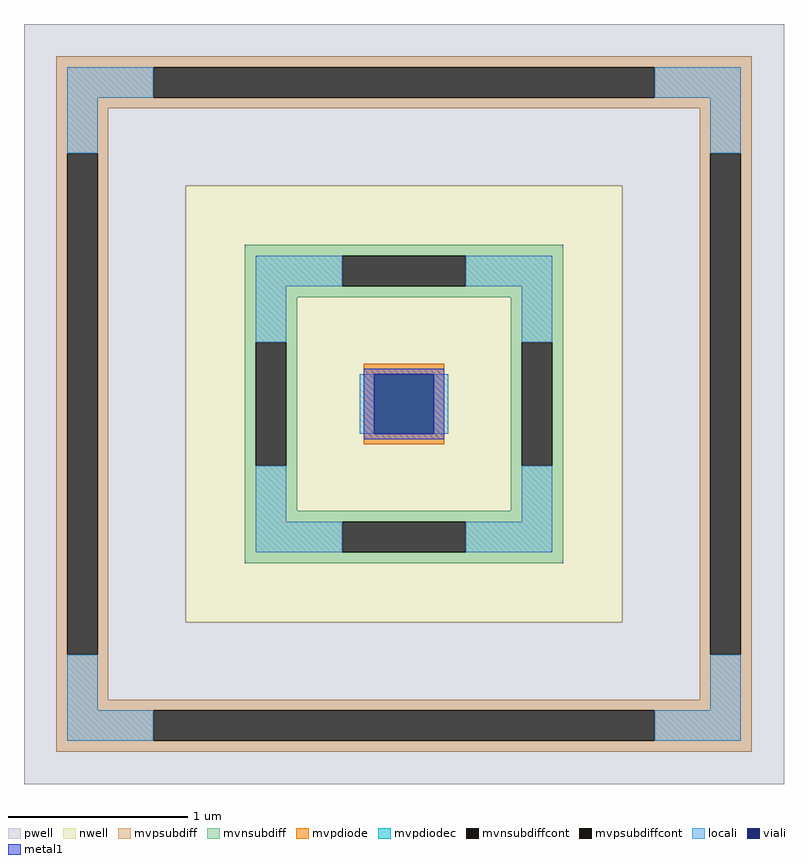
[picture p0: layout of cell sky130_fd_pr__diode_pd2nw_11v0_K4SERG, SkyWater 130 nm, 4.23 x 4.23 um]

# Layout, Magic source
magic
tech sky130A
magscale 1 2
<< nwell >>
rect -243 -243 243 243
<< pwell >>
rect -423 243 423 423
rect -423 -243 -243 243
rect 243 -243 423 243
rect -423 -423 423 -243
<< mvpsubdiff >>
rect -387 375 387 387
rect -387 341 -279 375
rect 279 341 387 375
rect -387 329 387 341
rect -387 279 -329 329
rect -387 -279 -375 279
rect -341 -279 -329 279
rect 329 279 387 329
rect -387 -329 -329 -279
rect 329 -279 341 279
rect 375 -279 387 279
rect 329 -329 387 -279
rect -387 -341 387 -329
rect -387 -375 -279 -341
rect 279 -375 387 -341
rect -387 -387 387 -375
<< mvnsubdiff >>
rect -177 165 177 177
rect -177 131 -69 165
rect 69 131 177 165
rect -177 119 177 131
rect -177 69 -119 119
rect -177 -69 -165 69
rect -131 -69 -119 69
rect 119 69 177 119
rect -177 -119 -119 -69
rect 119 -69 131 69
rect 165 -69 177 69
rect 119 -119 177 -69
rect -177 -131 177 -119
rect -177 -165 -69 -131
rect 69 -165 177 -131
rect -177 -177 177 -165
<< mvpsubdiffcont >>
rect -279 341 279 375
rect -375 -279 -341 279
rect 341 -279 375 279
rect -279 -375 279 -341
<< mvnsubdiffcont >>
rect -69 131 69 165
rect -165 -69 -131 69
rect 131 -69 165 69
rect -69 -165 69 -131
<< mvpdiode >>
rect -45 33 45 45
rect -45 -33 -33 33
rect 33 -33 45 33
rect -45 -45 45 -33
<< mvpdiodec >>
rect -33 -33 33 33
<< locali >>
rect -375 341 -279 375
rect 279 341 375 375
rect -375 279 -341 341
rect 341 279 375 341
rect -165 131 -69 165
rect 69 131 165 165
rect -165 69 -131 131
rect 131 69 165 131
rect -49 -33 -33 33
rect 33 -33 49 33
rect -165 -131 -131 -69
rect 131 -131 165 -69
rect -165 -165 -69 -131
rect 69 -165 165 -131
rect -375 -341 -341 -279
rect 341 -341 375 -279
rect -375 -375 -279 -341
rect 279 -375 375 -341
<< viali >>
rect -33 -33 33 33
<< metal1 >>
rect -45 33 45 39
rect -45 -33 -33 33
rect 33 -33 45 33
rect -45 -39 45 -33
<< properties >>
string FIXED_BBOX -148 -148 148 148
string gencell sky130_fd_pr__diode_pd2nw_11v0
string library sky130
string parameters w 0.45 l 0.45 area 202.5m peri 1.8 nx 1 ny 1 dummy 0 lmin 0.45 wmin 0.45 elc 1 erc 1 etc 1 ebc 1 glc 1 grc 1 gtc 1 gbc 1 doverlap 0 compatible {sky130_fd_pr__diode_pd2nw_05v5 sky130_fd_pr__diode_pd2nw_05v5_lvt  sky130_fd_pr__diode_pd2nw_05v5_hvt sky130_fd_pr__diode_pd2nw_11v0} full_metal 1 vias 1 viagb 0 viagt 0 viagl 0 viagr 0
<< end >>
